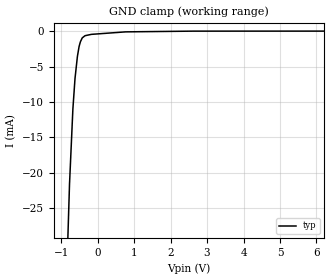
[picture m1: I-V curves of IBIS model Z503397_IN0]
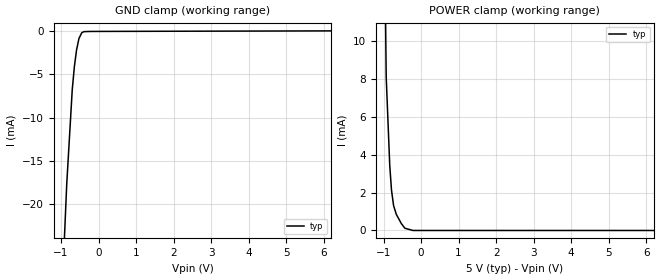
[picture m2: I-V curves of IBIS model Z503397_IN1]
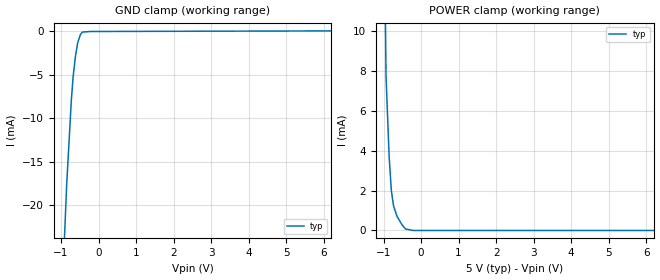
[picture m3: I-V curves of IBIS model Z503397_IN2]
| YOU ARE ONLY AUTHORIZED TO USE THIS SOFTWARE
| ACCORDING TO LICENSOR'S LICENSE RESTRICTIONS.
[IBIS Ver] 3.1
[File Name] mc100h646fn_pecl.ibs
[File Rev] 2.0
[Source] Measured and created by ICX Technology
[Date] Friday 7/14/00 9:07:48 AM
[Copyright]
| (C) COPYRIGHT 1993-2000
| MENTOR GRAPHICS CORPORATION
| ICX STANDARD LIBRARY, ICX PROJECT MODELING,
| ICX CUSTOM MODELING, ICX VENDOR MODEL
| ALL RIGHTS RESERVED.
| THE FOLLOWING ARE TRADEMARKS OR SERVICE MARKS OF
| MENTOR GRAPHICS CORPORATION:ICX (R), ICX STANDARD
| LIBRARY(R), ICX PROJECT MODELING(R), ICX CUSTOM
| MODELING(R), qualityIBIS(TM), MODELVIEWER(TM),
| AND MODELEDITOR(TM)
| ALL COPIES OF SOFTWARE, INCLUDING BUT NOT LIMITED TO
| ANY MODIFICATIONS, ENHANCEMENTS OR DERIVATIVE WORKS,
| MUST CONTAIN ALL MENTOR GRAPHICS CORPORATION'S
| NOTICES AND LEGENDS, INCLUDING THOSE EMBEDDED IN
| SOFTWARE AND THOSE AFFIXED TO SOFTWARE MEDIUM
| AND CONTAINER, AS RECEIVED FROM MENTOR GRAPHICS
| CORPORATION.
|  ZAP Model Builder 2.7
[Component] MC100H646FN_PECL
[Manufacturer] OnSemiconductor
[Package]
| variable   typ   min   max
R_pkg  .083ohms NA NA
L_pkg  4.299nH NA NA
C_pkg  1.045pF NA NA
[Pin] signal_name  model_name  R_pin  L_pin C_pin
1 OVT POWER .08 3.94n .925p
2 Q1 Z503397_TRI0 .082 4.14n .995p
3 OGND GND .084 4.354n 1.065p
4 Q0 Z503397_TRI0 .086 4.583n 1.135p
5 CLK Z503397_IN0 .086 4.583n 1.135p
6 VCC POWER .084 4.354n 1.065p
7 GROUND GND .082 4.14n .995p
8 VEE POWER .08 3.94n .925p
9 VEE POWER .082 4.14n .995p
10 VEE POWER .084 4.354n 1.065p
11 CLK_INH Z503397_IN1 .086 4.583n 1.135p
12 _CLK Z503397_IN2 .086 4.583n 1.135p
13 VBB POWER .084 4.354n 1.065p
14 VCC POWER .082 4.14n .995p
15 VCC POWER .08 3.94n .925p
16 GROUND GND .082 4.14n .995p
17 VCC POWER .084 4.354n 1.065p
18 EN Z503397_IN4 .086 4.583n 1.135p
19 Q7 Z503397_TRI0 .086 4.583n 1.135p
20 GROUND GND .084 4.354n 1.065p
21 Q6 Z503397_TRI0 .082 4.14n .995p
22 OVT POWER .08 3.94n .925p
23 Q5 Z503397_TRI0 .082 4.14n .995p
24 GROUND GND .084 4.354n 1.065p
25 Q4 Z503397_TRI0 .086 4.583n 1.135p
26 Q3 Z503397_TRI0 .086 4.583n 1.135p
27 GROUND GND .084 4.354n 1.065p
28 Q2 Z503397_TRI0 .082 4.14n .995p
| Models and submodels in the file (5): Z503397_IN0 (Input), Z503397_IN1 (Input), Z503397_IN2 (Input), Z503397_IN4 (Input), Z503397_TRI0 (3-state)
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| (C) COPYRIGHT 1993-2000
| MENTOR GRAPHICS CORPORATION
| ICX STANDARD LIBRARY, ICX PROJECT MODELING,
| ICX CUSTOM MODELING, ICX VENDOR MODEL
| ALL RIGHTS RESERVED.
| THE FOLLOWING ARE TRADEMARKS OR SERVICE MARKS OF
| MENTOR GRAPHICS CORPORATION:ICX (R), ICX STANDARD
| LIBRARY(R), ICX PROJECT MODELING(R), ICX CUSTOM
| MODELING(R), qualityIBIS(TM), MODELVIEWER(TM),
| AND MODELEDITOR(TM)
| ALL COPIES OF SOFTWARE, INCLUDING BUT NOT LIMITED TO
| ANY MODIFICATIONS, ENHANCEMENTS OR DERIVATIVE WORKS,
| MUST CONTAIN ALL MENTOR GRAPHICS CORPORATION'S
| NOTICES AND LEGENDS, INCLUDING THOSE EMBEDDED IN
| SOFTWARE AND THOSE AFFIXED TO SOFTWARE MEDIUM
| AND CONTAINER, AS RECEIVED FROM MENTOR GRAPHICS
| CORPORATION.
| Model Application Version 1.89 2/18/99.
[Model] Z503397_IN0
Model_type Input
Vinl = 3.525V
Vinh = 3.835V
C_comp 4.000pF NA NA
| variable typ   min   max
[Voltage Range] 5.000V NA NA
[GND Clamp Reference] 0.000V NA NA
[POWER Clamp Reference] 5.000V NA NA
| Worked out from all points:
|   GND clamp passes 1 mA (typ) near -0.43 V on its own axis
[GND Clamp]
-5V       -731.8mA   NA         NA
-769.8mV  -21.64mA   NA         NA
-677.5mV  -11.02mA   NA         NA
-619.4mV  -6.695mA   NA         NA
-553.1mV  -3.555mA   NA         NA
-507.9mV  -2.174mA   NA         NA
-471.6mV  -1.5mA     NA         NA
-419.9mV  -934.3uA   NA         NA
-343.5mV  -632.7uA   NA         NA
-171.7mV  -443.5uA   NA         NA
770.6mV   -89.93uA   NA         NA
10V       20.52uA    NA         NA
[POWER Clamp]
-5V       0A         NA         NA
10V       0A         NA         NA
| (C) COPYRIGHT 1993-2000
| MENTOR GRAPHICS CORPORATION
| ICX STANDARD LIBRARY, ICX PROJECT MODELING,
| ICX CUSTOM MODELING, ICX VENDOR MODEL
| ALL RIGHTS RESERVED.
| THE FOLLOWING ARE TRADEMARKS OR SERVICE MARKS OF
| MENTOR GRAPHICS CORPORATION:ICX (R), ICX STANDARD
| LIBRARY(R), ICX PROJECT MODELING(R), ICX CUSTOM
| MODELING(R), qualityIBIS(TM), MODELVIEWER(TM),
| AND MODELEDITOR(TM)
| ALL COPIES OF SOFTWARE, INCLUDING BUT NOT LIMITED TO
| ANY MODIFICATIONS, ENHANCEMENTS OR DERIVATIVE WORKS,
| MUST CONTAIN ALL MENTOR GRAPHICS CORPORATION'S
| NOTICES AND LEGENDS, INCLUDING THOSE EMBEDDED IN
| SOFTWARE AND THOSE AFFIXED TO SOFTWARE MEDIUM
| AND CONTAINER, AS RECEIVED FROM MENTOR GRAPHICS
| CORPORATION.
| Model Application Version 1.89 2/18/99.
[Model] Z503397_IN1
Model_type Input
Vinl = 3.525V
Vinh = 3.835V
C_comp 4.000pF NA NA
| variable typ   min   max
[Voltage Range] 5.000V NA NA
[GND Clamp Reference] 0.000V NA NA
[POWER Clamp Reference] 5.000V NA NA
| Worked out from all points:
|   GND clamp passes 1 mA (typ) near -0.53 V on its own axis
|   POWER clamp passes 1 mA (typ) near -0.68 V on its own axis
[GND Clamp]
-5V       -439.4mA   NA         NA
-848.7mV  -17.74mA   NA         NA
-701.4mV  -6.773mA   NA         NA
-644.5mV  -4.082mA   NA         NA
-586.1mV  -2.152mA   NA         NA
-522.5mV  -828.6uA   NA         NA
-447.5mV  -167.4uA   NA         NA
-389.4mV  -36.98uA   NA         NA
-194.7mV  -14.69uA   NA         NA
10V       87.69uA    NA         NA
[POWER Clamp]
-5V       732.1mA    NA         NA
-929mV    8.099mA    NA         NA
-834mV    3.411mA    NA         NA
-788mV    2.129mA    NA         NA
-733mV    1.317mA    NA         NA
-660mV    850.8uA    NA         NA
-525mV    361.4uA    NA         NA
-430mV    116.6uA    NA         NA
-215mV    0A         NA         NA
10V       0A         NA         NA
| (C) COPYRIGHT 1993-2000
| MENTOR GRAPHICS CORPORATION
| ICX STANDARD LIBRARY, ICX PROJECT MODELING,
| ICX CUSTOM MODELING, ICX VENDOR MODEL
| ALL RIGHTS RESERVED.
| THE FOLLOWING ARE TRADEMARKS OR SERVICE MARKS OF
| MENTOR GRAPHICS CORPORATION:ICX (R), ICX STANDARD
| LIBRARY(R), ICX PROJECT MODELING(R), ICX CUSTOM
| MODELING(R), qualityIBIS(TM), MODELVIEWER(TM),
| AND MODELEDITOR(TM)
| ALL COPIES OF SOFTWARE, INCLUDING BUT NOT LIMITED TO
| ANY MODIFICATIONS, ENHANCEMENTS OR DERIVATIVE WORKS,
| MUST CONTAIN ALL MENTOR GRAPHICS CORPORATION'S
| NOTICES AND LEGENDS, INCLUDING THOSE EMBEDDED IN
| SOFTWARE AND THOSE AFFIXED TO SOFTWARE MEDIUM
| AND CONTAINER, AS RECEIVED FROM MENTOR GRAPHICS
| CORPORATION.
| Model Application Version 1.89 2/18/99.
[Model] Z503397_IN2
Model_type Input
Vinl = 3.525V
Vinh = 3.835V
C_comp 4.000pF NA NA
| variable typ   min   max
[Voltage Range] 5.000V NA NA
[GND Clamp Reference] 0.000V NA NA
[POWER Clamp Reference] 5.000V NA NA
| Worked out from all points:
|   GND clamp passes 1 mA (typ) near -0.53 V on its own axis
|   POWER clamp passes 1 mA (typ) near -0.69 V on its own axis
[GND Clamp]
-5V       -451.3mA   NA         NA
-849.5mV  -17.62mA   NA         NA
-727mV    -8.028mA   NA         NA
-677.5mV  -5.198mA   NA         NA
-617.2mV  -2.894mA   NA         NA
-556.6mV  -1.328mA   NA         NA
-483.4mV  -356.2uA   NA         NA
-428.4mV  -84.36uA   NA         NA
-214.2mV  -18.33uA   NA         NA
10V       90.12uA    NA         NA
[POWER Clamp]
-5V       694mA      NA         NA
-933mV    7.723mA    NA         NA
-850mV    3.685mA    NA         NA
-791mV    1.989mA    NA         NA
-734mV    1.245mA    NA         NA
-643mV    720.5uA    NA         NA
-507mV    281.3uA    NA         NA
-410mV    70.12uA    NA         NA
-205mV    0A         NA         NA
10V       0A         NA         NA
